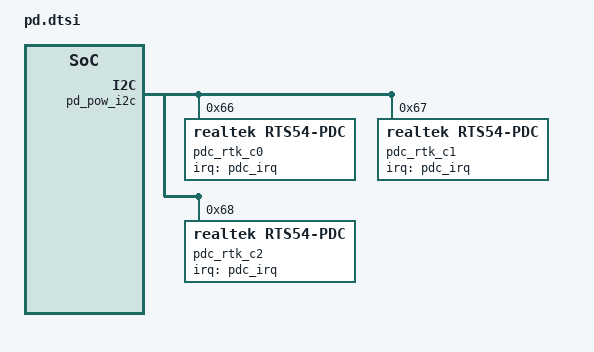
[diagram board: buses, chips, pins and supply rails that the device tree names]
/* Copyright 2024 The ChromiumOS Authors
 * Use of this source code is governed by a BSD-style license that can be
 * found in the LICENSE file.
 */

#include <dt-bindings/gpio_defines.h>

/* typec-aic1-power */
&pd_pow_i2c {
	pdc_rtk_c0: rts54-pdc@66 {
		compatible = "realtek,rts54-pdc";
		reg = <0x66>;
		irq-gpio = <&pdc_irq>;
		ccd;
	};
	pdc_rtk_c1: rts54-pdc@67 {
		compatible = "realtek,rts54-pdc";
		reg = <0x67>;
		irq-gpio = <&pdc_irq>;
		no-fw-update;
	};
	pdc_rtk_c2: rts54-pdc@68 {
		compatible = "realtek,rts54-pdc";
		reg = <0x68>;
		irq-gpio = <&pdc_irq>;
	};
};

&gpio_pdc_pow_irq {
	no-auto-init;
};
